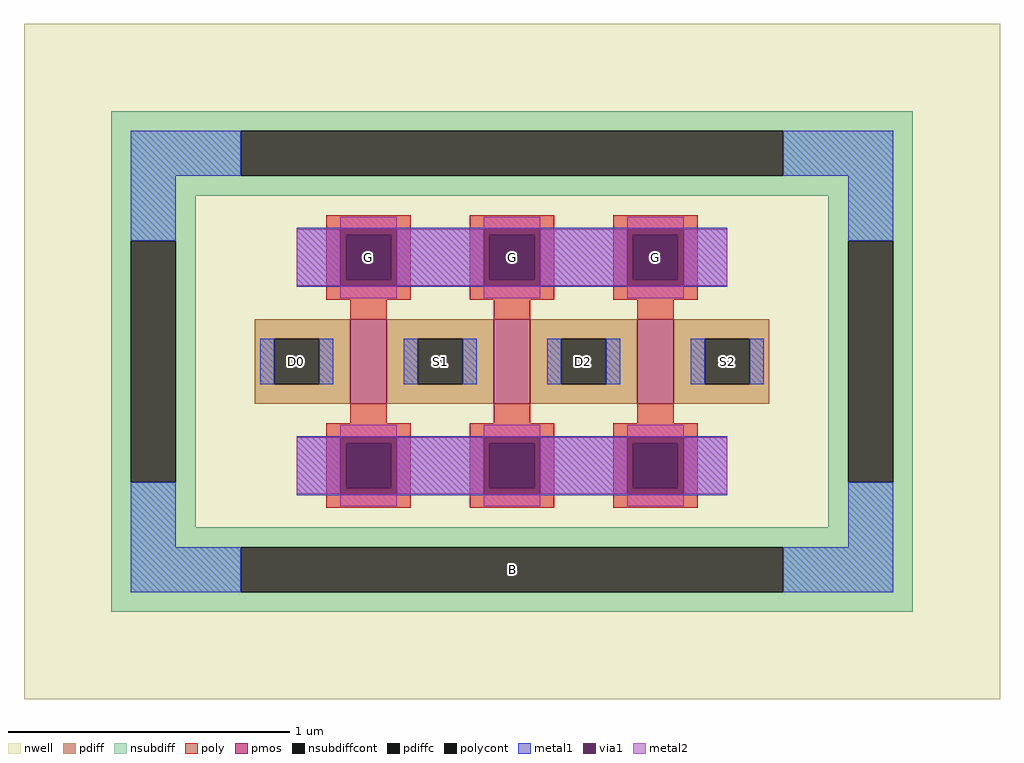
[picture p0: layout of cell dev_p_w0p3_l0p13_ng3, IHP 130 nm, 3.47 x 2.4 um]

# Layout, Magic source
magic
tech ihp-sg13cmos5l
magscale 1 2
<< nwell >>
rect -347 -240 347 240
<< pmos >>
rect -115 -30 -89 30
rect -13 -30 13 30
rect 89 -30 115 30
<< pdiff >>
rect -183 16 -115 30
rect -183 -16 -169 16
rect -137 -16 -115 16
rect -183 -30 -115 -16
rect -89 16 -13 30
rect -89 -16 -67 16
rect -35 -16 -13 16
rect -89 -30 -13 -16
rect 13 16 89 30
rect 13 -16 35 16
rect 67 -16 89 16
rect 13 -30 89 -16
rect 115 16 183 30
rect 115 -16 137 16
rect 169 -16 183 16
rect 115 -30 183 -16
<< pdiffc >>
rect -169 -16 -137 16
rect -67 -16 -35 16
rect 35 -16 67 16
rect 137 -16 169 16
<< nsubdiff >>
rect -285 164 285 178
rect -285 132 -193 164
rect 193 132 285 164
rect -285 118 285 132
rect -285 86 -225 118
rect -285 -86 -271 86
rect -239 -86 -225 86
rect 225 86 285 118
rect -285 -118 -225 -86
rect 225 -86 239 86
rect 271 -86 285 86
rect 225 -118 285 -86
rect -285 -132 285 -118
rect -285 -164 -193 -132
rect 193 -164 285 -132
rect -285 -178 285 -164
<< nsubdiffcont >>
rect -193 132 193 164
rect -271 -86 -239 86
rect 239 -86 271 86
rect -193 -164 193 -132
<< poly >>
rect -132 90 -72 104
rect -132 58 -118 90
rect -86 58 -72 90
rect -132 44 -72 58
rect -30 90 30 104
rect -30 58 -16 90
rect 16 58 30 90
rect -30 44 30 58
rect 72 90 132 104
rect 72 58 86 90
rect 118 58 132 90
rect 72 44 132 58
rect -115 30 -89 44
rect -13 30 13 44
rect 89 30 115 44
rect -115 -44 -89 -30
rect -13 -44 13 -30
rect 89 -44 115 -30
rect -132 -58 -72 -44
rect -132 -90 -118 -58
rect -86 -90 -72 -58
rect -132 -104 -72 -90
rect -30 -58 30 -44
rect -30 -90 -16 -58
rect 16 -90 30 -58
rect -30 -104 30 -90
rect 72 -58 132 -44
rect 72 -90 86 -58
rect 118 -90 132 -58
rect 72 -104 132 -90
<< polycont >>
rect -118 58 -86 90
rect -16 58 16 90
rect 86 58 118 90
rect -118 -90 -86 -58
rect -16 -90 16 -58
rect 86 -90 118 -58
<< metal1 >>
rect -271 132 -193 164
rect 193 132 271 164
rect -271 86 -239 132
rect -153 94 153 95
rect -153 54 -122 94
rect -82 54 -20 94
rect 20 54 82 94
rect 122 54 153 94
rect -153 53 153 54
rect 239 86 271 132
rect -179 -16 -169 16
rect -137 -16 -127 16
rect -77 -16 -67 16
rect -35 -16 -25 16
rect 25 -16 35 16
rect 67 -16 77 16
rect 127 -16 137 16
rect 169 -16 179 16
rect -271 -132 -239 -86
rect -153 -54 153 -53
rect -153 -94 -122 -54
rect -82 -94 -20 -54
rect 20 -94 82 -54
rect 122 -94 153 -54
rect -153 -95 153 -94
rect 239 -132 271 -86
rect -271 -164 -193 -132
rect 193 -164 271 -132
<< via1 >>
rect -122 90 -82 94
rect -122 58 -118 90
rect -118 58 -86 90
rect -86 58 -82 90
rect -122 54 -82 58
rect -20 90 20 94
rect -20 58 -16 90
rect -16 58 16 90
rect 16 58 20 90
rect -20 54 20 58
rect 82 90 122 94
rect 82 58 86 90
rect 86 58 118 90
rect 118 58 122 90
rect 82 54 122 58
rect -122 -58 -82 -54
rect -122 -90 -118 -58
rect -118 -90 -86 -58
rect -86 -90 -82 -58
rect -122 -94 -82 -90
rect -20 -58 20 -54
rect -20 -90 -16 -58
rect -16 -90 16 -58
rect 16 -90 20 -58
rect -20 -94 20 -90
rect 82 -58 122 -54
rect 82 -90 86 -58
rect 86 -90 118 -58
rect 118 -90 122 -58
rect 82 -94 122 -90
<< metal2 >>
rect -122 94 -82 103
rect -20 94 20 103
rect 82 94 122 103
rect -153 54 -122 94
rect -82 54 -20 94
rect 20 54 82 94
rect 122 54 153 94
rect -122 45 -82 54
rect -20 45 20 54
rect 82 45 122 54
rect -122 -54 -82 -45
rect -20 -54 20 -45
rect 82 -54 122 -45
rect -153 -94 -122 -54
rect -82 -94 -20 -54
rect 20 -94 82 -54
rect 122 -94 153 -54
rect -122 -103 -82 -94
rect -20 -103 20 -94
rect 82 -103 122 -94
<< labels >>
rlabel nsubdiffcont 0 -148 0 -148 0 B
port 1 nsew
rlabel pdiffc -153 0 -153 0 0 D0
port 2 nsew
rlabel polycont -102 74 -102 74 0 G
port 3 nsew
rlabel pdiffc -51 0 -51 0 0 S1
port 4 nsew
rlabel polycont 0 74 0 74 0 G
port 3 nsew
rlabel pdiffc 51 0 51 0 0 D2
port 5 nsew
rlabel pdiffc 153 0 153 0 0 S2
port 6 nsew
rlabel polycont 102 74 102 74 0 G
port 3 nsew
<< properties >>
string FIXED_BBOX -255 -148 255 148
string gencell sg13_lv_pmos
string library sg13cmos5l
string parameters w 0.3 l 0.13 m 1 ng 3 diffcov 100 polycov 100 guard 1 glc 1 grc 1 gtc 1 gbc 1 tbcov 100 rlcov 100 topc 1 botc 1 poverlap 0 doverlap 1 lmin 0.13 wmin 0.15 class mosfet compatible {sg13_lv_pmos sg13_hv_pmos} full_metal 1 conn_gates 1 gate_ring 0 ccols 1 viasrc 0 viadrn 0 viagate 100 viagb 0 viagr 0 viagl 0 viagt 0 doports 1
<< end >>
